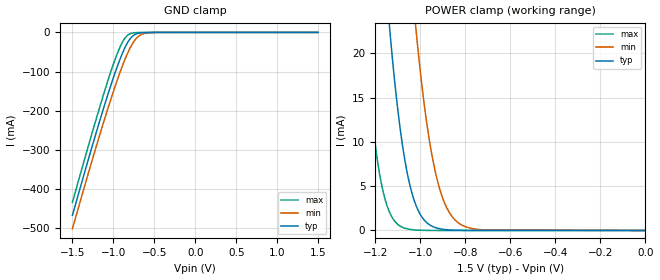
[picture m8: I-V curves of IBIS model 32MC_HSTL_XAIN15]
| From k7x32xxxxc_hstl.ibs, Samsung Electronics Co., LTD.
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|   Model 32MC_HSTL_XAIN15
[Model]   32MC_HSTL_XAIN15
Model_type   Input
Polarity   Non-Inverting
Vinl = 0.5500V
Vinh = 0.9500V
C_comp   0.8590pF   0.8410pF   0.8720pF
[Model Spec]
|   Typ   Min   Max
Vinl 0.55   0.5   0.6 |VREF - 0.2V AC spec for timing simulation
Vinh 0.95   0.9   1.0 |VREF + 0.2V AC spec for timing simulation
|[Model Spec]
|   Typ   Min   Max
|Vinl 0.65   0.6   0.7 |VREF - 0.1V DC spec for noise measurement
|Vinh 0.85   0.8   0.9 |VREF + 0.1V DC spec for noise measurement
[Temperature Range]   55.0000   0.1100k   0.000
[Voltage Range]   1.5000V   1.4000V   1.6000V
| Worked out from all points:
|   GND clamp passes 1 mA (typ) near -0.66 V on its own axis
|   POWER clamp passes 1 mA (typ) near -0.98 V on its own axis
[GND_clamp]
| voltage   I(typ)   I(min/slow/weak)   I(max/fast/strong)
-1.5V     -467.8mA   -501.9mA   -434.7mA
-1.317V   -333.1mA   -368.3mA   -298.7mA
-1.168V   -227.1mA   -263mA     -191.9mA
-1.046V   -144.9mA   -180.7mA   -109.9mA
-958mV    -90.45mA   -125.1mA   -57.4mA
-898mV    -57.51mA   -90.09mA   -28.43mA
-840mV    -31.15mA   -59.74mA   -10mA
-768mV    -10.01mA   -29.35mA   -1.724mA
-695mV    -2.148mA   -10.3mA    -404.6uA
-622mV    -496.1uA   -2.707mA   -186.4uA
-495mV    -86.82uA   -306.3uA   -47.12uA
1.5V      203.7pA    3.871nA    29.1pA
[POWER_clamp]
| voltage   I(typ)   I(min/slow/weak)   I(max/fast/strong)
-1.5V     205.3mA    263.7mA    147.6mA
-1.252V   68.11mA    120.2mA    23.56mA
-1.196V   43.78mA    91.85mA    8.975mA
-1.14V    24.09mA    65.99mA    2.277mA
-1.088V   11.29mA    44.91mA    478.8uA
-1.053V   5.915mA    32.73mA    155uA
-1.018V   2.781mA    22.49mA    48.71uA
-976mV    1.005mA    13.04mA    11.92uA
-937mV    363.3uA    7.092mA    3.197uA
-889mV    98.76uA    2.933mA    629.6nA
-835mV    22.08uA    947.3uA    100.8nA
0V        203.7pA    3.725nA    29.1pA
